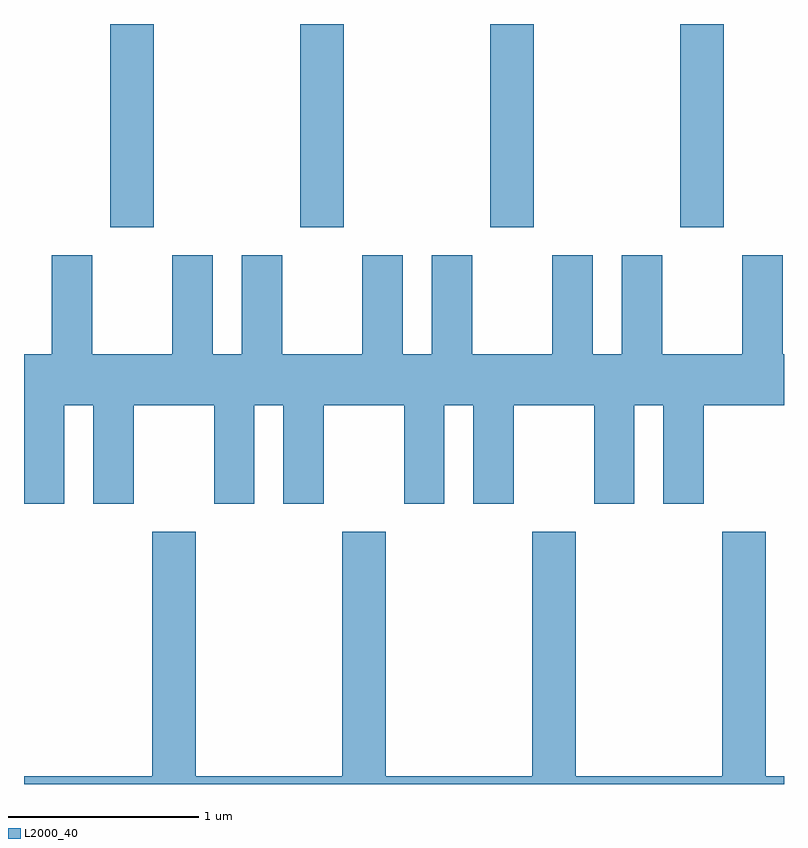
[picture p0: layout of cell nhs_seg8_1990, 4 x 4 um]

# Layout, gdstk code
import gdstk
lib = gdstk.Library(unit=1e-6, precision=1e-09)
def R(c, l, rs):  # rectangles x0, y0, x1, y1
    for r in rs: c.add(gdstk.rectangle(r[:2], r[2:], *l))
def A(c, l, x, y, w, h, nx, ny, dx, dy):  # array of equal rectangles
    R(c, l, [(x+i*dx, y+j*dy, x+i*dx+w, y+j*dy+h) for i in range(nx) for j in range(ny)])
def P(c, l, *ps):  # polygons
    for p in ps: c.add(gdstk.Polygon(p, *l))
L2000_40 = (2000, 40)

nhs_seg8_1990 = lib.new_cell('nhs_seg8_1990')
A(nhs_seg8_1990, L2000_40, 244.066, 1917.271, 0.228, 1.071, 4, 1, 1, 0)
P(nhs_seg8_1990, L2000_40, [(243.824,1916.336),(243.976,1916.336),(243.976,1915.816),(244.189,1915.816),(244.189,1916.336),(244.611,1916.336),(244.611,1915.816),(244.824,1915.816),(244.824,1916.336),(244.976,1916.336),(244.976,1915.816),(245.189,1915.816),(245.189,1916.336),(245.611,1916.336),(245.611,1915.816),(245.824,1915.816),(245.824,1916.336),(245.976,1916.336),(245.976,1915.816),(246.189,1915.816),(246.189,1916.336),(246.611,1916.336),(246.611,1915.816),(246.824,1915.816),(246.824,1916.336),(246.976,1916.336),(246.976,1915.816),(247.189,1915.816),(247.189,1916.336),(247.611,1916.336),(247.611,1916.604),(247.604,1916.604),(247.604,1917.124),(247.391,1917.124),(247.391,1916.604),(246.969,1916.604),(246.969,1917.124),(246.756,1917.124),(246.756,1916.604),(246.604,1916.604),(246.604,1917.124),(246.391,1917.124),(246.391,1916.604),(245.969,1916.604),(245.969,1917.124),(245.756,1917.124),(245.756,1916.604),(245.604,1916.604),(245.604,1917.124),(245.391,1917.124),(245.391,1916.604),(244.969,1916.604),(244.969,1917.124),(244.756,1917.124),(244.756,1916.604),(244.604,1916.604),(244.604,1917.124),(244.391,1917.124),(244.391,1916.604),(243.969,1916.604),(243.969,1917.124),(243.756,1917.124),(243.756,1916.604),(243.611,1916.604),(243.611,1915.816),(243.824,1915.816)],
  [(247.611,1914.384),(247.514,1914.384),(247.514,1915.669),(247.286,1915.669),(247.286,1914.384),(246.514,1914.384),(246.514,1915.669),(246.286,1915.669),(246.286,1914.384),(245.514,1914.384),(245.514,1915.669),(245.286,1915.669),(245.286,1914.384),(244.514,1914.384),(244.514,1915.669),(244.286,1915.669),(244.286,1914.384),(243.611,1914.384),(243.611,1914.342),(247.611,1914.342)])

lib.write_gds('nhs_seg8_1990.gds')
